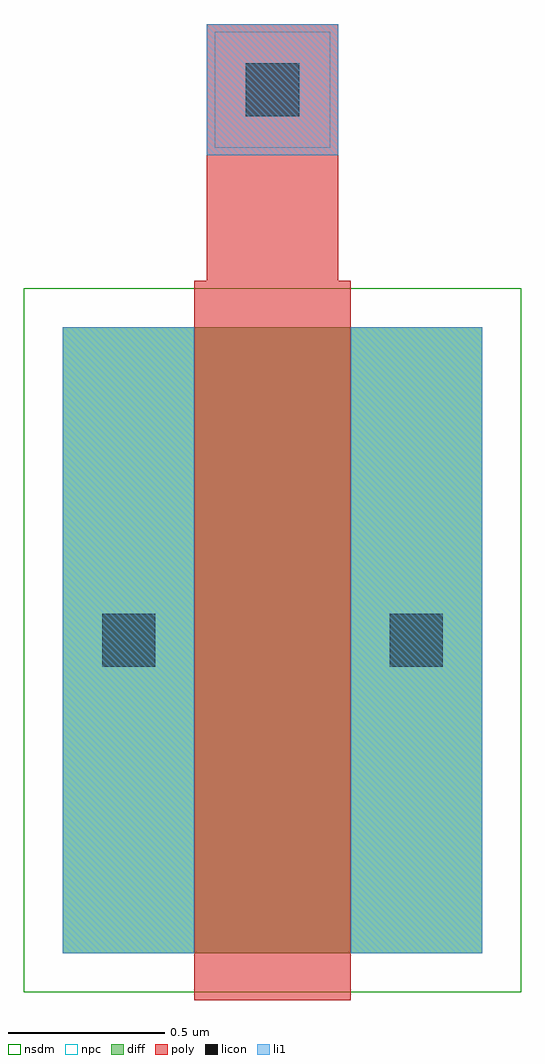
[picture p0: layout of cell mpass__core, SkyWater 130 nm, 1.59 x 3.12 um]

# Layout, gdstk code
import gdstk
lib = gdstk.Library(unit=1e-6, precision=1e-09)
def R(c, l, rs):  # rectangles x0, y0, x1, y1
    for r in rs: c.add(gdstk.rectangle(r[:2], r[2:], *l))
diff = (65, 20)
poly = (66, 20)
licon = (66, 44)
li1 = (67, 20)
nsdm = (93, 44)
npc = (95, 20)

mpass__core = lib.new_cell('mpass__core')
R(mpass__core, diff, [(0,0,1.34,2)])
R(mpass__core, poly, [(0.42,-0.15,0.92,2), (0.42,2,0.92,2.15), (0.42,2,0.92,2.15), (0.46,2.15,0.88,2.97)])
R(mpass__core, licon, [(0.125,0.915,0.295,1.085), (1.045,0.915,1.215,1.085), (0.585,2.675,0.755,2.845)])
R(mpass__core, li1, [(0,0,0.42,2), (0.92,0,1.34,2), (0.46,2.55,0.88,2.97)])
R(mpass__core, nsdm, [(-0.125,-0.125,1.465,2.125)])
R(mpass__core, npc, [(0.485,2.575,0.855,2.945)])

lib.write_gds('mpass__core.gds')
